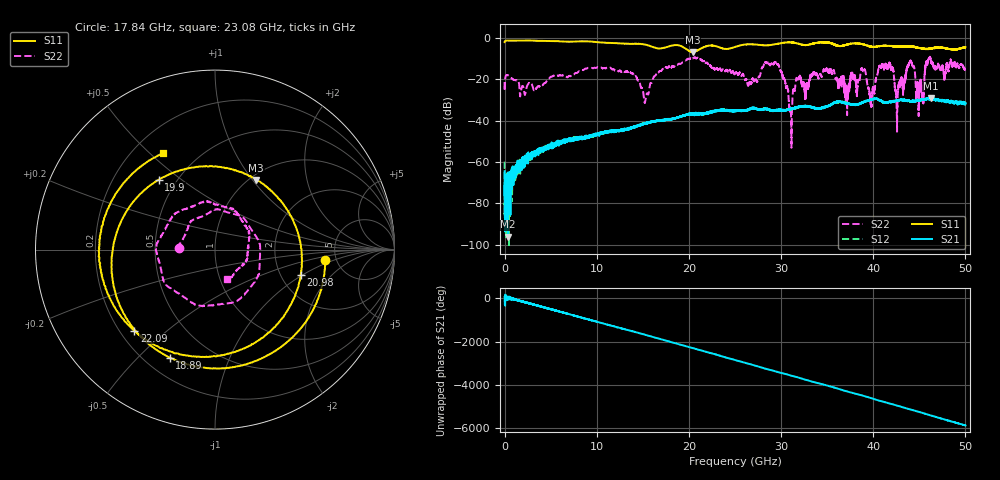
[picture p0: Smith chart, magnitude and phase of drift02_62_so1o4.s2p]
!Created with skrf (http://scikit-rf.org).
# Hz S RI R 50.0
!freq ReS11 ImS11 ReS21 ImS21 ReS12 ImS12 ReS22 ImS22
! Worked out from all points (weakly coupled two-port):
!   10001 points, 300 kHz to 50 GHz, reference 50 ohm
!   highest |S21| = -29.10 dB at 46.27 GHz (marker M1); lowest = -96.1 dB at 360.3 MHz (marker M2)
!   lowest |S11| = -6.9 dB at 20.4 GHz (marker M3), VSWR 2.64, Z = 53.5 + j52.1 ohm
!   |S11| at or under -10 dB: nowhere
!   |S22| runs from -53.1 to -9.2 dB; largest |S21 - S12| = 0.0031
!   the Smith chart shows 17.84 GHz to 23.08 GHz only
!   S11 on the Smith chart (normalised r, x): 17.84 GHz: 4.07, -0.79; 18.89 GHz: 0.30, -0.62; 19.9 GHz: 0.40, +0.42; 20.98 GHz: 2.57, -0.96; 22.09 GHz: 0.26, -0.39; 23.08 GHz: 0.32, +0.55
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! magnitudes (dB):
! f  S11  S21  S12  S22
! 300 kHz  -2.1  -64.5  -59.8  -21.4
! 360.3 MHz  -1.4  -96.1  -69.9  -18.1
! 8.335 GHz  -1.7  -48.3  -48.3  -15.7
! 15.33 GHz  -3.4  -41.2  -41.2  -29.0
! 16.67 GHz  -5.2  -40.2  -40.0  -17.0
! 17.84 GHz  -4.2  -39.5  -39.4  -13.9
! 18.89 GHz  -3.7  -38.3  -38.5  -12.5
! 19.9 GHz  -6.0  -37.1  -37.1  -10.2
! 20.4 GHz  -6.9  -36.9  -36.8  -10.0
! 20.98 GHz  -6.1  -37.1  -36.6  -9.7
! 22.09 GHz  -3.9  -36.5  -36.1  -12.8
! 23.08 GHz  -4.3  -35.2  -35.1  -14.9
! 25 GHz  -4.5  -35.2  -35.5  -17.6
! 29.51 GHz  -3.1  -35.0  -35.1  -12.6
! 31.03 GHz  -2.2  -34.4  -34.6  -35.8
! 33.34 GHz  -3.0  -33.5  -33.4  -18.1
! 39.86 GHz  -4.4  -29.9  -29.9  -28.7
! 41.67 GHz  -3.9  -31.0  -31.1  -13.3
! 44.18 GHz  -4.3  -30.8  -30.8  -12.4
! 44.86 GHz  -4.9  -30.2  -30.2  -25.5
! 46.27 GHz  -5.3  -29.1  -29.3  -11.4
! 50 GHz  -4.6  -31.6  -31.8  -15.9
